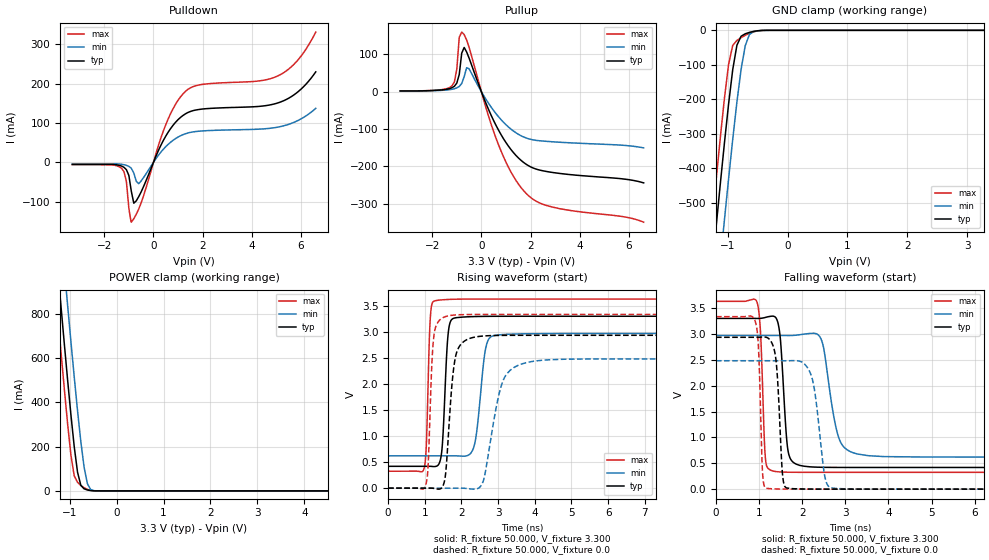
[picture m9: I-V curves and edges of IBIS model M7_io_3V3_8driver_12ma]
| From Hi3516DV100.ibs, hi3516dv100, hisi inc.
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|   Model M7_io_3V3_8driver_12ma
[Model] M7_io_3V3_8driver_12ma
Model_type I/O
Enable   Active-Low
|   typ   min   max
C_comp   2.642pF   2.310pF   2.911pF
C_comp_pullup   1.539pF   1.365pF   1.667pF
C_comp_pulldown   0.973pF   0.865pF   1.054pF
[Temperature Range]   25.000   0.125k   -40.000
[Voltage Range]   3.300V   2.970V   3.630V
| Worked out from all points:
|   slope of the pulldown table from 0 to 0.495 V, typ, clamps not added: 7.49 ohm
|   slope of the pullup table from 0 to 0.495 V, typ, clamps not added: 6.43 ohm
|   GND clamp passes 1 mA (typ) near -0.48 V on its own axis
|   POWER clamp passes 1 mA (typ) near -0.52 V on its own axis
|   rising waveform, R_fixture 50.000, V_fixture 3.300: 20-80 % time 116ps typ, 203ps min, 79.4ps max; typ from 0.419 V to 3.3 V
|   rising waveform, R_fixture 50.000, V_fixture 0.0: 20-80 % time 193ps typ, 398ps min, 110ps max; typ from 0 V to 2.94 V
|   falling waveform, R_fixture 50.000, V_fixture 3.300: 20-80 % time 126ps typ, 272ps min, 83.3ps max; typ from 3.3 V to 0.419 V
|   falling waveform, R_fixture 50.000, V_fixture 0.0: 20-80 % time 111ps typ, 211ps min, 73.1ps max; typ from 2.94 V to 0 V
[Pulldown]
|Voltage   I(typ)   I(min)   I(max)
-3.3V     -5.299mA   -4.088mA   -5.897mA
-1.3V     -9.361mA   -4.921mA   -15.1mA
-1.1V     -18.61mA   -7.587mA   -48.75mA
-1V       -33.41mA   -10.26mA   -117mA
-900mV    -73.62mA   -15.37mA   -152mA
-800mV    -103.8mA   -26.87mA   -143.3mA
-600mV    -87.21mA   -54.2mA    -118.7mA
500mV     66.64mA    39.81mA    95.62mA
1.2V      119.1mA    70.35mA    173.9mA
5.1V      151.8mA    90.01mA    220.9mA
5.9V      180.4mA    107mA      261.9mA
6.6V      229.8mA    137.2mA    330.9mA
[Pullup]
|Voltage   I(typ)   I(min)   I(max)
-3.3V     2.021mA    1.862mA    2.048mA
-1.2V     10.51mA    6.457mA    15.54mA
-1V       22.93mA    10.21mA    60.04mA
-900mV    46.15mA    14.14mA    146mA
-800mV    103.3mA    21.99mA    159.9mA
-700mV    118.6mA    40.08mA    153.1mA
-500mV    90.15mA    61.52mA    119mA
700mV     -103.4mA   -67.35mA   -142.9mA
1.2V      -154.9mA   -100.2mA   -215mA
1.8V      -193.7mA   -123.6mA   -271.4mA
2.9V      -216.7mA   -134.4mA   -309.6mA
6.6V      -244.6mA   -150.7mA   -350mA
[GND_clamp]
|Voltage   I(typ)   I(min)   I(max)
-3.3V     -4.517A    -4.69A     -4.416A
-1.27V    -700.5mA   -927.1mA   -564.6mA
-1.2V     -573.8mA   -800.2mA   -438.1mA
-1.06V    -328.9mA   -551.9mA   -199.2mA
-990mV    -214.8mA   -431.8mA   -99.7mA
-920mV    -114mA     -316.2mA   -43.53mA
-850mV    -43.24mA   -208mA     -29.29mA
-780mV    -17.1mA    -113.2mA   -21.3mA
-710mV    -9.984mA   -44.04mA   -14.34mA
-640mV    -5.898mA   -11.93mA   -8.548mA
-430mV    -290.1uA   -417uA     -293.3uA
3.28V     0A         0A         0A
[POWER_clamp]
|Voltage   I(typ)   I(min)   I(max)
-3.28V    6.17A      6.491A     5.979A
-1.32V    1.171A     1.514A     963.5mA
-1.25V    998.8mA    1.342A     791.6mA
-1.18V    828.8mA    1.171A     622.5mA
-1.04V    498.6mA    836.2mA    300.3mA
-970mV    342.4mA    672.8mA    160.5mA
-900mV    199.2mA    514.1mA    67.64mA
-830mV    84.45mA    362.5mA    39.03mA
-690mV    9.426mA    106.7mA    13.99mA
-620mV    4.06mA     32.35mA    6.988mA
-480mV    331.6uA    966.8uA    576.2uA
6.6V      -86.79uA   -108.3nA   -146.3uA
[Ramp]
| variable   typ   min   max
dV/dt_r   1.761/0.196n   1.489/0.397n   2.000/0.112n
dV/dt_f   1.728/0.129n   1.410/0.276n   1.983/87.711p
R_load = 50.000
[Rising Waveform]
R_fixture= 50.000
V_fixture= 3.300
V_fixture_min= 2.970
V_fixture_max= 3.630
|time   V(typ)   V(min)   V(max)
0s        419.4mV    620.3mV    325.4mV
981ps     419.4mV    620.3mV    377.5mV
1.147ns   419.8mV    620.3mV    3.209V
1.245ns   414.5mV    620.3mV    3.588V
1.46ns    682.8mV    620.3mV    3.614V
1.628ns   2.886V     620.3mV    3.622V
1.766ns   3.254V     620.6mV    3.626V
2.341ns   3.294V     796.6mV    3.63V
2.842ns   3.299V     2.92V      3.63V
10ns      3.3V       2.97V      3.63V
[Rising Waveform]
R_fixture= 50.000
V_fixture= 0.0
V_fixture_min= 0.0
V_fixture_max= 0.0
|time   V(typ)   V(min)   V(max)
0s        449.9uV    0V         546.7uV
1.03ns    402.4uV    0V         66.33mV
1.237ns   -2.881mV   1.426uV    2.844V
1.5ns     49.31mV    6.486uV    3.275V
1.817ns   2.438V     110.2uV    3.324V
2.143ns   2.849V     -5.843mV   3.332V
2.591ns   2.92V      127.1mV    3.334V
3.092ns   2.933V     1.976V     3.334V
3.531ns   2.934V     2.353V     3.334V
10ns      2.935V     2.482V     3.334V
[Falling Waveform]
R_fixture= 50.000
V_fixture= 3.300
V_fixture_min= 2.970
V_fixture_max= 3.630
|time   V(typ)   V(min)   V(max)
0s        3.3V       2.97V      3.63V
949ps     3.299V     2.97V      3.619V
1.145ns   3.318V     2.97V      612.4mV
1.301ns   3.344V     2.97V      356.2mV
1.484ns   2.983V     2.97V      333.2mV
1.666ns   770mV      2.969V     327.7mV
1.862ns   483.1mV    2.976V     326.1mV
2.437ns   423.2mV    2.903V     325.4mV
3.186ns   419.6mV    702.4mV    325.4mV
10ns      419.4mV    620.3mV    325.4mV
[Falling Waveform]
R_fixture= 50.000
V_fixture= 0.0
V_fixture_min= 0.0
V_fixture_max= 0.0
|time   V(typ)   V(min)   V(max)
0s        2.935V     2.482V     3.334V
918ps     2.934V     2.482V     3.224V
989ps     2.935V     2.482V     2.677V
1.084ns   2.94V      2.482V     271mV
1.154ns   2.938V     2.482V     20.95mV
1.379ns   2.575V     2.482V     4.713mV
1.636ns   23.65mV    2.482V     1.428mV
2.206ns   1.732mV    2.205V     574uV
2.665ns   608.8uV    27.92mV    548.8uV
10ns      450uV      0V         546.7uV
